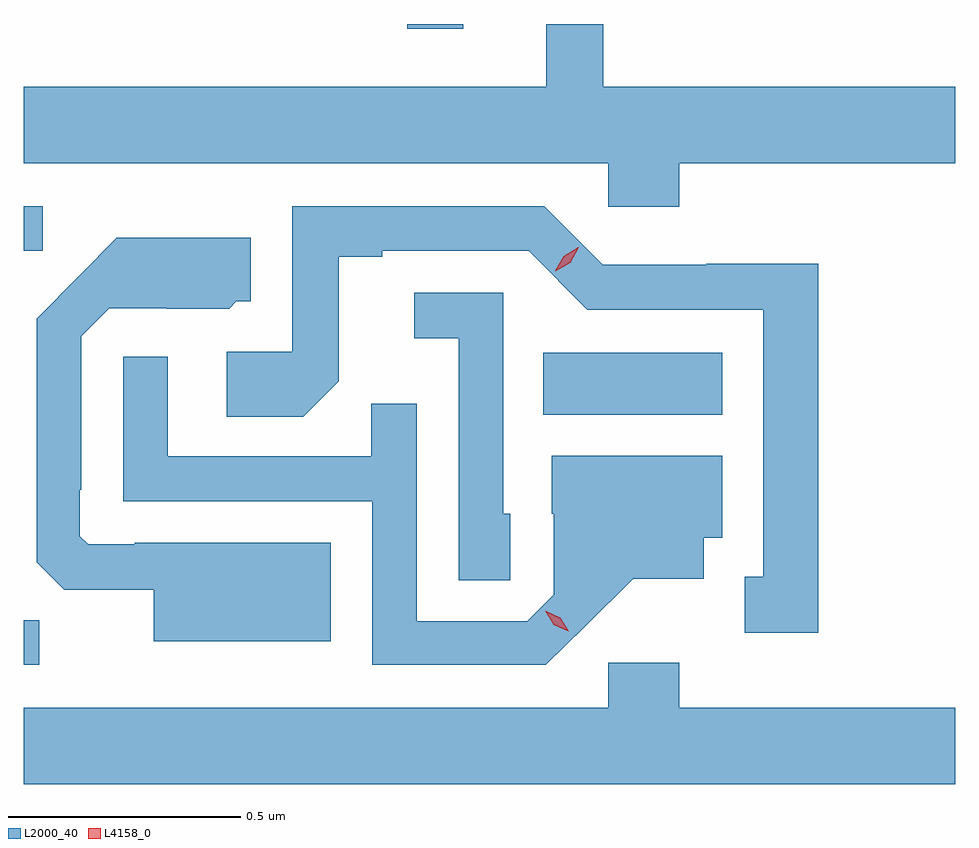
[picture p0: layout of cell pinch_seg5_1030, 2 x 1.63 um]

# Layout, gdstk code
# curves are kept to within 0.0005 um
import gdstk
lib = gdstk.Library(unit=1e-6, precision=1e-09)
def R(c, l, rs):  # rectangles x0, y0, x1, y1
    for r in rs: c.add(gdstk.rectangle(r[:2], r[2:], *l))
def P(c, l, *ps):  # polygons
    for p in ps: c.add(gdstk.Polygon(p, *l))
L2000_40 = (2000, 40)
L4158_0 = (4158, 0)

pinch_seg5_1030 = lib.new_cell('pinch_seg5_1030')
R(pinch_seg5_1030, L2000_40, [(711.677,839.7,711.711,839.795), (712.792,840.236,713.176,840.37), (711.677,840.588,711.718,840.684), (712.5,841.065,712.621,841.075)])
P(pinch_seg5_1030, L2000_40, [(713.084,840.776),(713.677,840.776),(713.677,840.94),(712.921,840.94),(712.921,841.075),(712.799,841.075),(712.799,840.94),(711.677,840.94),(711.677,840.776),(712.932,840.776),(712.932,840.683),(713.084,840.683)],
  [(713.383,840.56),(713.142,840.56),(713.142,840.558),(712.92,840.558),(712.794,840.684),(712.254,840.684),(712.254,840.372),(712.113,840.372),(712.113,840.232),(712.277,840.232),(712.353,840.308),(712.353,840.576),(712.447,840.576),(712.447,840.588),(712.761,840.588),(712.887,840.462),(713.264,840.462),(713.264,839.889),(713.225,839.889),(713.225,839.769),(713.383,839.769)],
  [(712.336,839.962),(711.916,839.962),(711.916,839.958),(711.816,839.958),(711.798,839.976),(711.798,840.076),(711.801,840.076),(711.801,840.405),(711.861,840.465),(711.984,840.465),(711.984,840.464),(712.118,840.464),(712.134,840.48),(712.165,840.48),(712.165,840.616),(711.877,840.616),(711.705,840.442),(711.705,839.92),(711.764,839.861),(711.956,839.861),(711.956,839.75),(712.336,839.75)],
  [(712.722,840.024),(712.707,840.024),(712.707,840.498),(712.515,840.498),(712.515,840.401),(712.611,840.401),(712.611,839.881),(712.722,839.881)],
  [(712.882,839.783),(712.985,839.885),(713.137,839.885),(713.137,839.972),(713.176,839.972),(713.176,840.148),(712.811,840.148),(712.811,840.024),(712.815,840.024),(712.815,839.85),(712.758,839.793),(712.521,839.793),(712.521,840.26),(712.423,840.26),(712.423,840.147),(711.987,840.147),(711.987,840.361),(711.891,840.361),(711.891,840.051),(712.425,840.051),(712.425,839.7),(712.798,839.7)],
  [(713.677,839.608),(713.084,839.608),(713.084,839.704),(712.932,839.704),(712.932,839.608),(711.677,839.608),(711.677,839.444),(713.677,839.444)])
P(pinch_seg5_1030, L4158_0, [(712.846,839.772),(712.815,839.786),(712.797,839.816),(712.797,839.816),(712.797,839.816),(712.829,839.801),(712.847,839.772),(712.847,839.772)],
  [(712.818,840.544),(712.818,840.545),(712.836,840.577),(712.867,840.596),(712.868,840.596),(712.868,840.596),(712.85,840.563),(712.818,840.544)])

lib.write_gds('pinch_seg5_1030.gds')
